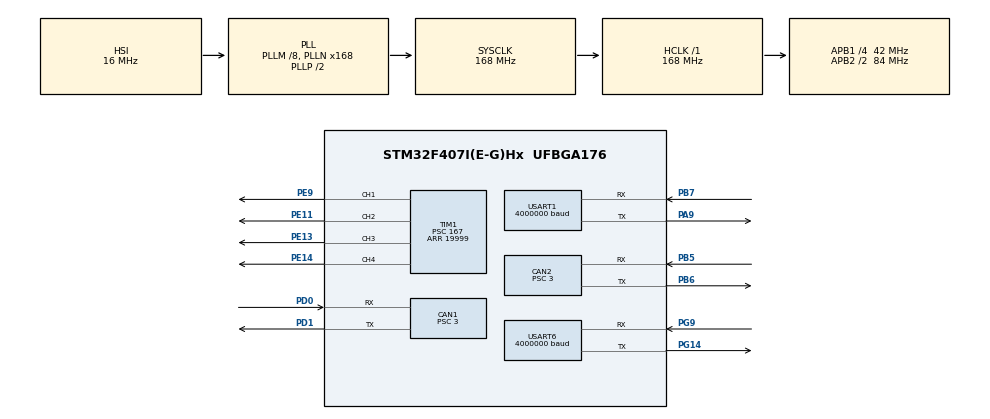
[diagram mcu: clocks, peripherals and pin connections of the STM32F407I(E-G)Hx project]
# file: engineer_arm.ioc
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CAN1.BS1=CAN_BS1_10TQ
CAN1.BS2=CAN_BS2_3TQ
CAN1.CalculateBaudRate=1000000
CAN1.CalculateTimeBit=1000
CAN1.CalculateTimeQuantum=71.42857142857143
CAN1.Prescaler=3
CAN2.BS1=CAN_BS1_10TQ
CAN2.BS2=CAN_BS2_3TQ
CAN2.CalculateBaudRate=1000000
CAN2.CalculateTimeBit=1000
CAN2.CalculateTimeQuantum=71.42857142857143
CAN2.Prescaler=3
Dma.Request0=USART1_RX
Dma.Request1=USART1_TX
Dma.Request2=USART6_RX
Dma.Request3=USART6_TX
Dma.USART1_RX.0.Direction=DMA_PERIPH_TO_MEMORY
Dma.USART1_RX.0.FIFOMode=DMA_FIFOMODE_DISABLE
Dma.USART1_RX.0.Instance=DMA2_Stream2
Dma.USART1_RX.0.MemDataAlignment=DMA_MDATAALIGN_BYTE
Dma.USART1_RX.0.MemInc=DMA_MINC_ENABLE
Dma.USART1_RX.0.Mode=DMA_NORMAL
Dma.USART1_RX.0.PeriphDataAlignment=DMA_PDATAALIGN_BYTE
Dma.USART1_RX.0.PeriphInc=DMA_PINC_DISABLE
Dma.USART1_RX.0.Priority=DMA_PRIORITY_VERY_HIGH
Dma.USART1_TX.1.Direction=DMA_MEMORY_TO_PERIPH
Dma.USART1_TX.1.FIFOMode=DMA_FIFOMODE_DISABLE
Dma.USART1_TX.1.Instance=DMA2_Stream7
Dma.USART1_TX.1.MemDataAlignment=DMA_MDATAALIGN_BYTE
Dma.USART1_TX.1.MemInc=DMA_MINC_ENABLE
Dma.USART1_TX.1.Mode=DMA_NORMAL
Dma.USART1_TX.1.PeriphDataAlignment=DMA_PDATAALIGN_BYTE
Dma.USART1_TX.1.PeriphInc=DMA_PINC_DISABLE
Dma.USART1_TX.1.Priority=DMA_PRIORITY_VERY_HIGH
Dma.USART6_RX.2.Direction=DMA_PERIPH_TO_MEMORY
Dma.USART6_RX.2.FIFOMode=DMA_FIFOMODE_DISABLE
Dma.USART6_RX.2.Instance=DMA2_Stream1
Dma.USART6_RX.2.MemDataAlignment=DMA_MDATAALIGN_BYTE
Dma.USART6_RX.2.MemInc=DMA_MINC_ENABLE
Dma.USART6_RX.2.Mode=DMA_NORMAL
Dma.USART6_RX.2.PeriphDataAlignment=DMA_PDATAALIGN_BYTE
Dma.USART6_RX.2.PeriphInc=DMA_PINC_DISABLE
Dma.USART6_RX.2.Priority=DMA_PRIORITY_VERY_HIGH
Dma.USART6_TX.3.Direction=DMA_MEMORY_TO_PERIPH
Dma.USART6_TX.3.FIFOMode=DMA_FIFOMODE_DISABLE
Dma.USART6_TX.3.Instance=DMA2_Stream6
Dma.USART6_TX.3.MemDataAlignment=DMA_MDATAALIGN_BYTE
Dma.USART6_TX.3.MemInc=DMA_MINC_ENABLE
Dma.USART6_TX.3.Mode=DMA_NORMAL
Dma.USART6_TX.3.PeriphDataAlignment=DMA_PDATAALIGN_BYTE
Dma.USART6_TX.3.PeriphInc=DMA_PINC_DISABLE
Dma.USART6_TX.3.Priority=DMA_PRIORITY_VERY_HIGH
FREERTOS.Tasks01=defaultTask,0,128,StartDefaultTask,Default,NULL,Dynamic,NULL,NULL
Mcu.Family=STM32F4
Mcu.Name=STM32F407I(E-G)Hx
Mcu.Package=UFBGA176
NVIC.CAN1_RX0_IRQn=true\:5\:0\:false\:false\:true\:true\:true\:true\:true
NVIC.CAN2_RX0_IRQn=true\:5\:0\:false\:false\:true\:true\:true\:true\:true
NVIC.DMA2_Stream1_IRQn=true\:5\:0\:false\:false\:true\:true\:false\:true\:true
NVIC.DMA2_Stream2_IRQn=true\:5\:0\:false\:false\:true\:true\:false\:true\:true
NVIC.DMA2_Stream6_IRQn=true\:5\:0\:false\:false\:true\:true\:false\:true\:true
NVIC.DMA2_Stream7_IRQn=true\:5\:0\:false\:false\:true\:true\:false\:true\:true
NVIC.PriorityGroup=NVIC_PRIORITYGROUP_4
NVIC.USART1_IRQn=true\:5\:0\:false\:false\:true\:true\:true\:true\:true
NVIC.USART6_IRQn=true\:5\:0\:false\:false\:true\:true\:true\:true\:true
PA13.Mode=Serial_Wire
PA13.Signal=SYS_JTMS-SWDIO
PA14.Mode=Serial_Wire
PA14.Signal=SYS_JTCK-SWCLK
PA9.Mode=Asynchronous
PA9.Signal=USART1_TX
PB5.Mode=CAN_Activate
PB5.Signal=CAN2_RX
PB6.Mode=CAN_Activate
PB6.Signal=CAN2_TX
PB7.Mode=Asynchronous
PB7.Signal=USART1_RX
PD0.Mode=CAN_Activate
PD0.Signal=CAN1_RX
PD1.Mode=CAN_Activate
PD1.Signal=CAN1_TX
PE11.Signal=S_TIM1_CH2
PE13.Signal=S_TIM1_CH3
PE14.Signal=S_TIM1_CH4
PE9.Signal=S_TIM1_CH1
PG14.Mode=Asynchronous
PG14.Signal=USART6_TX
PG9.Mode=Asynchronous
PG9.Signal=USART6_RX
PH0-OSC_IN.Mode=HSE-External-Oscillator
PH0-OSC_IN.Signal=RCC_OSC_IN
PH1-OSC_OUT.Mode=HSE-External-Oscillator
PH1-OSC_OUT.Signal=RCC_OSC_OUT
ProjectManager.HeapSize=0x200
ProjectManager.StackSize=0x400
ProjectManager.TargetToolchain=MDK-ARM V5.32
RCC.48MHZClocksFreq_Value=84000000
RCC.AHBFreq_Value=168000000
RCC.APB1CLKDivider=RCC_HCLK_DIV4
RCC.APB1Freq_Value=42000000
RCC.APB1TimFreq_Value=84000000
RCC.APB2CLKDivider=RCC_HCLK_DIV2
RCC.APB2Freq_Value=84000000
RCC.APB2TimFreq_Value=168000000
RCC.CortexFreq_Value=168000000
RCC.HCLKFreq_Value=168000000
RCC.HSE_VALUE=25000000
RCC.HSI_VALUE=16000000
RCC.LSE_VALUE=32768
RCC.PLLM=8
RCC.PLLN=168
RCC.SYSCLKFreq_VALUE=168000000
RCC.SYSCLKSource=RCC_SYSCLKSOURCE_PLLCLK
RCC.VCOOutputFreq_Value=336000000
SH.S_TIM1_CH1.0=TIM1_CH1,PWM Generation1 CH1
SH.S_TIM1_CH2.0=TIM1_CH2,PWM Generation2 CH2
SH.S_TIM1_CH3.0=TIM1_CH3,PWM Generation3 CH3
SH.S_TIM1_CH4.0=TIM1_CH4,PWM Generation4 CH4
TIM1.Channel-PWM\ Generation1\ CH1=TIM_CHANNEL_1
TIM1.Channel-PWM\ Generation2\ CH2=TIM_CHANNEL_2
TIM1.Channel-PWM\ Generation3\ CH3=TIM_CHANNEL_3
TIM1.Channel-PWM\ Generation4\ CH4=TIM_CHANNEL_4
TIM1.Period=19999
TIM1.Prescaler=167
TIM1.Pulse-PWM\ Generation1\ CH1=2000
TIM1.Pulse-PWM\ Generation3\ CH3=2000
TIM1.Pulse-PWM\ Generation4\ CH4=2000
TIM4.Period=20999
USART1.BaudRate=4000000
USART1.VirtualMode=VM_ASYNC
USART6.BaudRate=4000000
USART6.VirtualMode=VM_ASYNC
VP_FREERTOS_VS_CMSIS_V1.Mode=CMSIS_V1
VP_TIM1_VS_ClockSourceINT.Mode=Internal
VP_TIM4_VS_ClockSourceINT.Mode=Internal
board=custom

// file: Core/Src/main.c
/* USER CODE BEGIN Header */
/**
  ******************************************************************************
  * @file           : main.c
  * @brief          : Main program body
  ******************************************************************************
  * @attention
  *
  * Copyright (c) 2025 STMicroelectronics.
  * All rights reserved.
  *
  * This software is licensed under terms that can be found in the LICENSE file
  * in the root directory of this software component.
  * If no LICENSE file comes with this software, it is provided AS-IS.
  *
  ******************************************************************************
  */
/* USER CODE END Header */
#include "main.h"
#include "cmsis_os.h"
#include "can.h"
#include "dma.h"
#include "tim.h"
#include "usart.h"
#include "gpio.h"

/* USER CODE BEGIN Includes */
#include "bsp_dwt.h"
#include "bsp_can.h"
/* USER CODE END Includes */

void SystemClock_Config(void);
void MX_FREERTOS_Init(void);

int main(void)
{

  /* MCU Configuration--------------------------------------------------------*/

  /* Reset of all peripherals, Initializes the Flash interface and the Systick. */
  HAL_Init();

  /* Configure the system clock */
  SystemClock_Config();

  /* Initialize all configured peripherals */
  MX_GPIO_Init();
  MX_DMA_Init();
  MX_CAN1_Init();
  MX_CAN2_Init();
  MX_USART1_UART_Init();
  MX_USART6_UART_Init();
  MX_TIM4_Init();
  MX_TIM1_Init();
  /* USER CODE BEGIN 2 */
	HAL_TIM_Base_Start(&htim1);
	HAL_TIM_PWM_Start_IT(&htim1, TIM_CHANNEL_1);
	HAL_TIM_PWM_Start_IT(&htim1, TIM_CHANNEL_2);
	HAL_TIM_PWM_Start_IT(&htim1, TIM_CHANNEL_3);
	HAL_TIM_PWM_Start_IT(&htim1, TIM_CHANNEL_4);
	HAL_TIM_Base_Start(&htim4);
	HAL_TIM_PWM_Start(&htim4, TIM_CHANNEL_3);
	can_filter_init();
	DWT_Init(168);
  /* USER CODE END 2 */

  /* Call init function for freertos objects (in cmsis_os2.c) */
  MX_FREERTOS_Init();

  /* Start scheduler */
  osKernelStart();

  /* We should never get here as control is now taken by the scheduler */

  /* Infinite loop */
  while (1)
  {

  }
}

void SystemClock_Config(void)
{
  RCC_OscInitTypeDef RCC_OscInitStruct = {0};
  RCC_ClkInitTypeDef RCC_ClkInitStruct = {0};

  /** Configure the main internal regulator output voltage
  */
  __HAL_RCC_PWR_CLK_ENABLE();
  __HAL_PWR_VOLTAGESCALING_CONFIG(PWR_REGULATOR_VOLTAGE_SCALE1);

  /** Initializes the RCC Oscillators according to the specified parameters
  * in the RCC_OscInitTypeDef structure.
  */
  RCC_OscInitStruct.OscillatorType = RCC_OSCILLATORTYPE_HSI;
  RCC_OscInitStruct.HSIState = RCC_HSI_ON;
  RCC_OscInitStruct.HSICalibrationValue = RCC_HSICALIBRATION_DEFAULT;
  RCC_OscInitStruct.PLL.PLLState = RCC_PLL_ON;
  RCC_OscInitStruct.PLL.PLLSource = RCC_PLLSOURCE_HSI;
  RCC_OscInitStruct.PLL.PLLM = 8;
  RCC_OscInitStruct.PLL.PLLN = 168;
  RCC_OscInitStruct.PLL.PLLP = RCC_PLLP_DIV2;
  RCC_OscInitStruct.PLL.PLLQ = 4;
  if (HAL_RCC_OscConfig(&RCC_OscInitStruct) != HAL_OK)
  {
    Error_Handler();
  }

  /** Initializes the CPU, AHB and APB buses clocks
  */
  RCC_ClkInitStruct.ClockType = RCC_CLOCKTYPE_HCLK|RCC_CLOCKTYPE_SYSCLK
                              |RCC_CLOCKTYPE_PCLK1|RCC_CLOCKTYPE_PCLK2;
  RCC_ClkInitStruct.SYSCLKSource = RCC_SYSCLKSOURCE_PLLCLK;
  RCC_ClkInitStruct.AHBCLKDivider = RCC_SYSCLK_DIV1;
  RCC_ClkInitStruct.APB1CLKDivider = RCC_HCLK_DIV4;
  RCC_ClkInitStruct.APB2CLKDivider = RCC_HCLK_DIV2;

  if (HAL_RCC_ClockConfig(&RCC_ClkInitStruct, FLASH_LATENCY_5) != HAL_OK)
  {
    Error_Handler();
  }
}

void Error_Handler(void)
{
  __disable_irq();
  while (1)
  {
  }
}

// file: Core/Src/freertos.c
/* USER CODE BEGIN Header */
/**
  ******************************************************************************
  * File Name          : freertos.c
  * Description        : Code for freertos applications
  ******************************************************************************
  * @attention
  *
  * Copyright (c) 2025 STMicroelectronics.
  * All rights reserved.
  *
  * This software is licensed under terms that can be found in the LICENSE file
  * in the root directory of this software component.
  * If no LICENSE file comes with this software, it is provided AS-IS.
  *
  ******************************************************************************
  */
/* USER CODE END Header */

#include "FreeRTOS.h"
#include "task.h"
#include "main.h"
#include "cmsis_os.h"

/* USER CODE BEGIN Includes */
#include "arm_control_task.h"
#include "boards_communicate_task.h"
#include "error_check.h"
/* USER CODE END Includes */

osThreadId defaultTaskHandle;

/* USER CODE BEGIN FunctionPrototypes */
osThreadId ArmTaskHandle;
osThreadId BoardscommunicateTaskHandle;
osThreadId ErrorCheckTaskHandle;
/* USER CODE END FunctionPrototypes */

void StartDefaultTask(void const * argument);

void MX_FREERTOS_Init(void); /* (MISRA C 2004 rule 8.1) */

/* GetIdleTaskMemory prototype (linked to static allocation support) */
void vApplicationGetIdleTaskMemory( StaticTask_t **ppxIdleTaskTCBBuffer, StackType_t **ppxIdleTaskStackBuffer, uint32_t *pulIdleTaskStackSize );

/* USER CODE BEGIN GET_IDLE_TASK_MEMORY */
static StaticTask_t xIdleTaskTCBBuffer;
static StackType_t xIdleStack[configMINIMAL_STACK_SIZE];

void vApplicationGetIdleTaskMemory( StaticTask_t **ppxIdleTaskTCBBuffer, StackType_t **ppxIdleTaskStackBuffer, uint32_t *pulIdleTaskStackSize )
{
  *ppxIdleTaskTCBBuffer = &xIdleTaskTCBBuffer;
  *ppxIdleTaskStackBuffer = &xIdleStack[0];
  *pulIdleTaskStackSize = configMINIMAL_STACK_SIZE;
  /* place for user code */
}
/* USER CODE END GET_IDLE_TASK_MEMORY */

void MX_FREERTOS_Init(void) {

  /* Create the thread(s) */
  /* definition and creation of defaultTask */
  osThreadDef(defaultTask, StartDefaultTask, osPriorityNormal, 0, 128);
  defaultTaskHandle = osThreadCreate(osThread(defaultTask), NULL);

  /* USER CODE BEGIN RTOS_THREADS */
	osThreadDef(ARMCONTROLTask, arm_task, osPriorityNormal, 0, 1024);
  ArmTaskHandle = osThreadCreate(osThread(ARMCONTROLTask), NULL);

	osThreadDef(BoardscommunicateTask, A_communicate_task, osPriorityNormal, 0, 128);
  BoardscommunicateTaskHandle = osThreadCreate(osThread(BoardscommunicateTask), NULL);

//	osThreadDef(ErrorCheckTaskHandle, error_check, osPriorityNormal, 0, 128);
//  BoardscommunicateTaskHandle = osThreadCreate(osThread(ErrorCheckTaskHandle), NULL);
  /* add threads, ... */
  /* USER CODE END RTOS_THREADS */

}

void StartDefaultTask(void const * argument)
{
  for(;;)
  {
    osDelay(1);
  }
}
